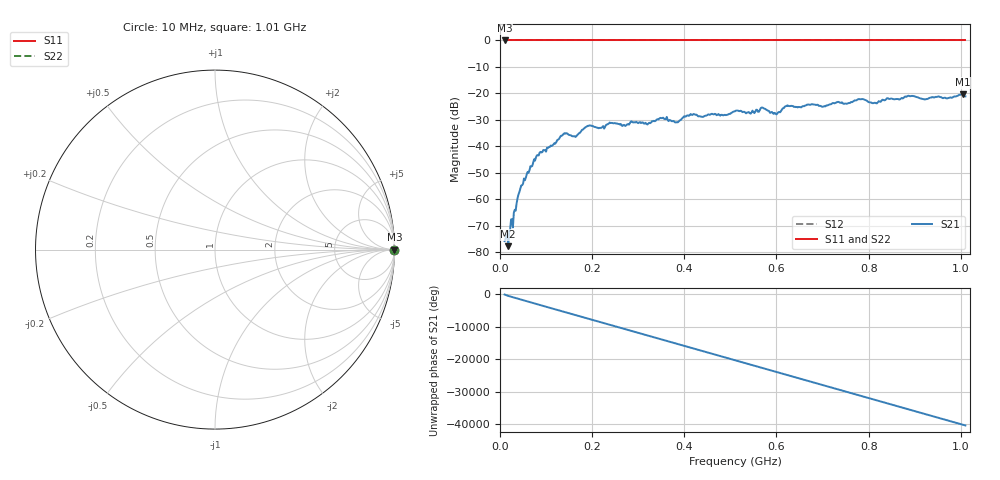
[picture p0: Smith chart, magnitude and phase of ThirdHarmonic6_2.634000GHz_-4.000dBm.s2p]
! 8/17/2025 5:54:24 AM
! C:\ANRITSUVNA\TEMP\TEMP.S2P
! CHANNEL.1
! TR.MEASUREMENT
! RAW.DATA
! RF.CORRECTION.OFF
! AVERAGING.OFF
! IF.BANDWIDTH: 5KHZ
! SWEEPTYPE:  FREQ.SWEEP(Linear)
! Reference Plane Port Info
! PORT:  PORT1  PORT2
! DISTANCE:  0  m  0  m
! TIME:  0  s  0  s
! PHASE.OFFSET:  0  deg.  0  deg.
! LOSS:  0  dB  0  dB
! REF.LOSS:  0  dB  0  dB
! REF.FREQ:  0  Hz  0  Hz
! Power Info
! POWER:  -20  dBm  -20  dBm
! EFF.POWER:  -20  dBm  -20  dBm
! SOURCE.ATTEN:  0  dB  0  dB
! TEST.ATTEN:  0  dB  0  dB
# GHZ S RI R 50.0
! FREQ.GHZ  S11RE  S11IM  S21RE  S21IM  S12RE  S12IM  S22RE  S22IM
!; PortSelection: Port_12
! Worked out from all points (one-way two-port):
!   501 points, 10 MHz to 1.01 GHz, reference 50 ohm
!   highest |S21| = -20.40 dB at 1.004 GHz (marker M1); lowest = -77.7 dB at 18 MHz (marker M2)
!   lowest |S11| = 0.0 dB at 10 MHz (marker M3)
!   |S11| at or under -10 dB: nowhere
!   |S22| runs from 0.0 to 0.0 dB; largest |S21 - S12| = 1.1
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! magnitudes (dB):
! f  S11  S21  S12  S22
! 10 MHz  0.0  -75.8  0.0  0.0
! 18 MHz  0.0  -77.7  0.0  0.0
! 44 MHz  0.0  -56.0  0.0  0.0
! 78 MHz  0.0  -44.1  0.0  0.0
! 136 MHz  0.0  -35.7  0.0  0.0
! 162 MHz  0.0  -36.1  0.0  0.0
! 178 MHz  0.0  -33.8  0.0  0.0
! 194 MHz  0.0  -32.1  0.0  0.0
! 322 MHz  0.0  -31.4  0.0  0.0
! 344 MHz  0.0  -29.8  0.0  0.0
! 384 MHz  0.0  -30.9  0.0  0.0
! 416 MHz  0.0  -28.1  0.0  0.0
! 510 MHz  0.0  -26.8  0.0  0.0
! 570 MHz  0.0  -25.4  0.0  0.0
! 598 MHz  0.0  -27.6  0.0  0.0
! 622 MHz  0.0  -24.8  0.0  0.0
! 678 MHz  0.0  -24.1  0.0  0.0
! 782 MHz  0.0  -22.2  0.0  0.0
! 814 MHz  0.0  -23.5  0.0  0.0
! 844 MHz  0.0  -22.1  0.0  0.0
! 1.004 GHz  0.0  -20.4  0.0  0.0
! 1.01 GHz  0.0  -21.1  0.0  0.0
